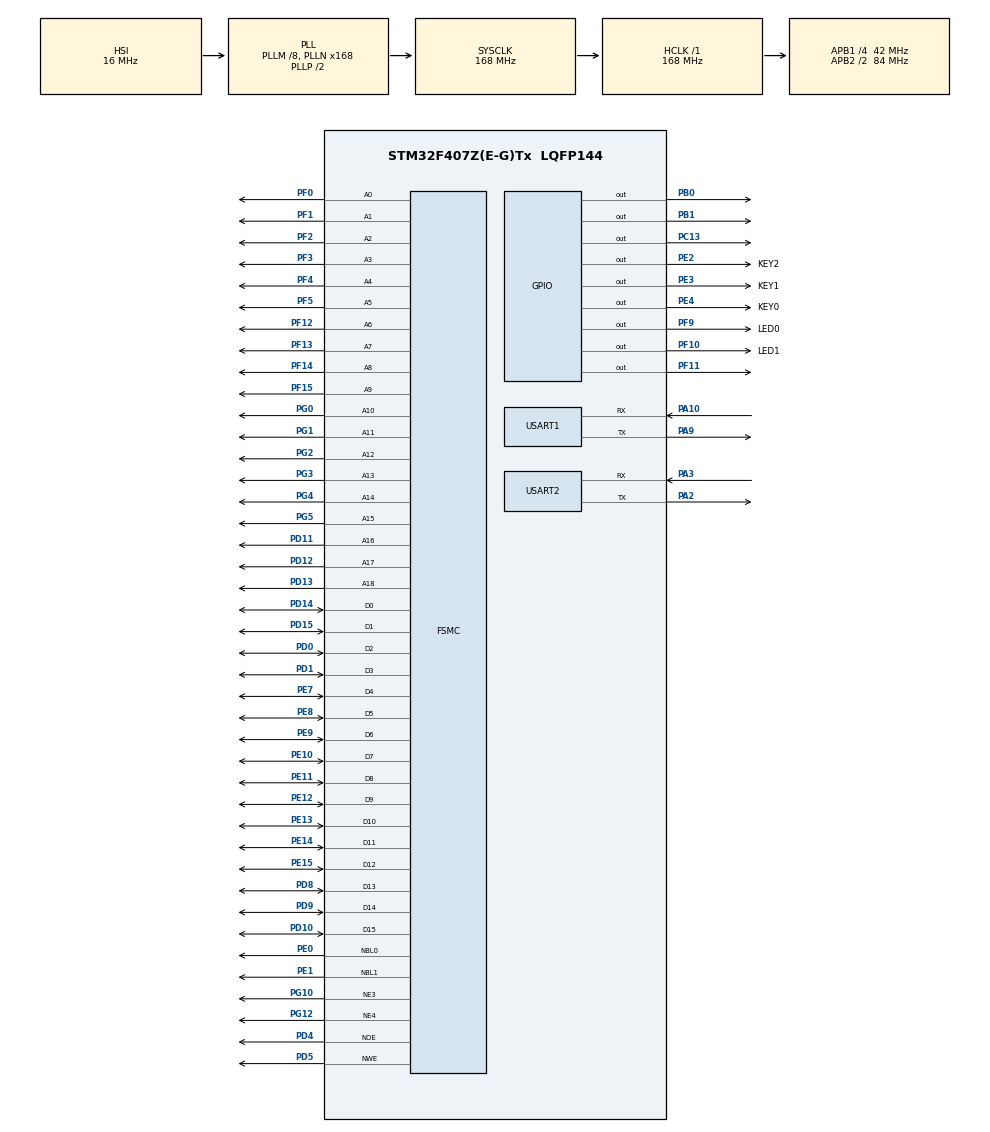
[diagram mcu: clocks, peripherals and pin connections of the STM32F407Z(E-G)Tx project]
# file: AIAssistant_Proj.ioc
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FREERTOS.Tasks01=defaultTask,24,128,StartDefaultTask,Default,NULL,Dynamic,NULL,NULL;guiTask,48,1024,guiTask_Func,Default,NULL,Dynamic,NULL,NULL;cloudTask,16,512,cloudTask_Func,Default,NULL,Dynamic,NULL,NULL
FREERTOS.configENABLE_FPU=1
FREERTOS.configTOTAL_HEAP_SIZE=32768
FSMC.AddressSetupTime2=1
FSMC.BusTurnAroundDuration2=0
FSMC.DataSetupTime2=5
FSMC.WriteOperation1=FSMC_WRITE_OPERATION_ENABLE
Mcu.Family=STM32F4
Mcu.Name=STM32F407Z(E-G)Tx
Mcu.Package=LQFP144
NVIC.PriorityGroup=NVIC_PRIORITYGROUP_4
NVIC.TIM6_DAC_IRQn=true\:15\:0\:false\:false\:true\:false\:false\:true\:true
NVIC.TimeBase=TIM6_DAC_IRQn
NVIC.TimeBaseIP=TIM6
PA10.Mode=Asynchronous
PA10.Signal=USART1_RX
PA13.Mode=Serial_Wire
PA13.Signal=SYS_JTMS-SWDIO
PA14.Mode=Serial_Wire
PA14.Signal=SYS_JTCK-SWCLK
PA2.Mode=Asynchronous
PA2.Signal=USART2_TX
PA3.Mode=Asynchronous
PA3.Signal=USART2_RX
PA9.Mode=Asynchronous
PA9.Signal=USART1_TX
PB0.GPIO_ModeDefaultOutputPP=GPIO_MODE_OUTPUT_PP
PB0.GPIO_PuPd=GPIO_PULLUP
PB0.PinState=GPIO_PIN_SET
PB0.Signal=GPIO_Output
PB1.GPIO_ModeDefaultOutputPP=GPIO_MODE_OUTPUT_PP
PB1.GPIO_PuPd=GPIO_PULLUP
PB1.PinState=GPIO_PIN_SET
PB1.Signal=GPIO_Output
PC13-ANTI_TAMP.GPIO_ModeDefaultOutputPP=GPIO_MODE_OUTPUT_PP
PC13-ANTI_TAMP.GPIO_PuPd=GPIO_PULLUP
PC13-ANTI_TAMP.PinState=GPIO_PIN_SET
PC13-ANTI_TAMP.Signal=GPIO_Output
PC14-OSC32_IN.Mode=LSE-External-Oscillator
PC14-OSC32_IN.Signal=RCC_OSC32_IN
PC15-OSC32_OUT.Mode=LSE-External-Oscillator
PC15-OSC32_OUT.Signal=RCC_OSC32_OUT
PD0.Signal=FSMC_D2_DA2
PD1.Signal=FSMC_D3_DA3
PD10.Signal=FSMC_D15_DA15
PD11.Signal=FSMC_A16_CLE
PD12.Signal=FSMC_A17_ALE
PD13.Signal=FSMC_A18
PD14.Signal=FSMC_D0_DA0
PD15.Signal=FSMC_D1_DA1
PD4.Signal=FSMC_NOE
PD5.Signal=FSMC_NWE
PD8.Signal=FSMC_D13_DA13
PD9.Signal=FSMC_D14_DA14
PE0.Signal=FSMC_NBL0
PE1.Signal=FSMC_NBL1
PE10.Signal=FSMC_D7_DA7
PE11.Signal=FSMC_D8_DA8
PE12.Signal=FSMC_D9_DA9
PE13.Signal=FSMC_D10_DA10
PE14.Signal=FSMC_D11_DA11
PE15.Signal=FSMC_D12_DA12
PE2.GPIO_Label=KEY2
PE2.GPIO_ModeDefaultOutputPP=GPIO_MODE_OUTPUT_PP
PE2.GPIO_PuPd=GPIO_PULLUP
PE2.GPIO_Speed=GPIO_SPEED_FREQ_VERY_HIGH
PE2.PinState=GPIO_PIN_SET
PE2.Signal=GPIO_Output
PE3.GPIO_Label=KEY1
PE3.GPIO_ModeDefaultOutputPP=GPIO_MODE_OUTPUT_PP
PE3.GPIO_PuPd=GPIO_PULLUP
PE3.GPIO_Speed=GPIO_SPEED_FREQ_VERY_HIGH
PE3.PinState=GPIO_PIN_SET
PE3.Signal=GPIO_Output
PE4.GPIO_Label=KEY0
PE4.GPIO_ModeDefaultOutputPP=GPIO_MODE_OUTPUT_PP
PE4.GPIO_PuPd=GPIO_PULLUP
PE4.GPIO_Speed=GPIO_SPEED_FREQ_VERY_HIGH
PE4.PinState=GPIO_PIN_SET
PE4.Signal=GPIO_Output
PE7.Signal=FSMC_D4_DA4
PE8.Signal=FSMC_D5_DA5
PE9.Signal=FSMC_D6_DA6
PF0.Signal=FSMC_A0
PF1.Signal=FSMC_A1
PF10.GPIO_Label=LED1
PF10.GPIO_ModeDefaultOutputPP=GPIO_MODE_OUTPUT_PP
PF10.GPIO_PuPd=GPIO_PULLUP
PF10.GPIO_Speed=GPIO_SPEED_FREQ_VERY_HIGH
PF10.PinState=GPIO_PIN_SET
PF10.Signal=GPIO_Output
PF11.GPIO_ModeDefaultOutputPP=GPIO_MODE_OUTPUT_PP
PF11.GPIO_PuPd=GPIO_PULLUP
PF11.PinState=GPIO_PIN_SET
PF11.Signal=GPIO_Output
PF12.Signal=FSMC_A6
PF13.Signal=FSMC_A7
PF14.Signal=FSMC_A8
PF15.Signal=FSMC_A9
PF2.Signal=FSMC_A2
PF3.Signal=FSMC_A3
PF4.Signal=FSMC_A4
PF5.Signal=FSMC_A5
PF9.GPIO_Label=LED0
PF9.GPIO_ModeDefaultOutputPP=GPIO_MODE_OUTPUT_PP
PF9.GPIO_PuPd=GPIO_PULLUP
PF9.GPIO_Speed=GPIO_SPEED_FREQ_VERY_HIGH
PF9.PinState=GPIO_PIN_SET
PF9.Signal=GPIO_Output
PG0.Signal=FSMC_A10
PG1.Signal=FSMC_A11
PG10.Mode=NorPsramChipSelect3_1
PG10.Signal=FSMC_NE3
PG12.Mode=NorPsramChipSelect4_2
PG12.Signal=FSMC_NE4
PG2.Signal=FSMC_A12
PG3.Signal=FSMC_A13
PG4.Signal=FSMC_A14
PG5.Signal=FSMC_A15
PH0-OSC_IN.Mode=HSE-External-Oscillator
PH0-OSC_IN.Signal=RCC_OSC_IN
PH1-OSC_OUT.Mode=HSE-External-Oscillator
PH1-OSC_OUT.Signal=RCC_OSC_OUT
ProjectManager.HeapSize=0x200
ProjectManager.StackSize=0x400
ProjectManager.TargetToolchain=CMake
RCC.48MHZClocksFreq_Value=84000000
RCC.AHBFreq_Value=168000000
RCC.APB1CLKDivider=RCC_HCLK_DIV4
RCC.APB1Freq_Value=42000000
RCC.APB1TimFreq_Value=84000000
RCC.APB2CLKDivider=RCC_HCLK_DIV2
RCC.APB2Freq_Value=84000000
RCC.APB2TimFreq_Value=168000000
RCC.CortexFreq_Value=168000000
RCC.HCLKFreq_Value=168000000
RCC.HSE_VALUE=8000000
RCC.HSI_VALUE=16000000
RCC.PLLM=8
RCC.PLLN=168
RCC.SYSCLKFreq_VALUE=168000000
RCC.SYSCLKSource=RCC_SYSCLKSOURCE_PLLCLK
RCC.VCOOutputFreq_Value=336000000
SH.FSMC_A0.0=FSMC_A0,19b-a1
SH.FSMC_A1.0=FSMC_A1,19b-a1
SH.FSMC_A10.0=FSMC_A10,19b-a1
SH.FSMC_A11.0=FSMC_A11,19b-a1
SH.FSMC_A12.0=FSMC_A12,19b-a1
SH.FSMC_A13.0=FSMC_A13,19b-a1
SH.FSMC_A14.0=FSMC_A14,19b-a1
SH.FSMC_A15.0=FSMC_A15,19b-a1
SH.FSMC_A16_CLE.0=FSMC_A16,19b-a1
SH.FSMC_A17_ALE.0=FSMC_A17,19b-a1
SH.FSMC_A18.0=FSMC_A18,19b-a1
SH.FSMC_A2.0=FSMC_A2,19b-a1
SH.FSMC_A3.0=FSMC_A3,19b-a1
SH.FSMC_A4.0=FSMC_A4,19b-a1
SH.FSMC_A5.0=FSMC_A5,19b-a1
SH.FSMC_A6.0=FSMC_A6,19b-a1
SH.FSMC_A6.1=FSMC_A6,A6_2
SH.FSMC_A7.0=FSMC_A7,19b-a1
SH.FSMC_A8.0=FSMC_A8,19b-a1
SH.FSMC_A9.0=FSMC_A9,19b-a1
SH.FSMC_D0_DA0.0=FSMC_D0,16b-d1
SH.FSMC_D0_DA0.1=FSMC_D0,16b-d2
SH.FSMC_D10_DA10.0=FSMC_D10,16b-d1
SH.FSMC_D10_DA10.1=FSMC_D10,16b-d2
SH.FSMC_D11_DA11.0=FSMC_D11,16b-d1
SH.FSMC_D11_DA11.1=FSMC_D11,16b-d2
SH.FSMC_D12_DA12.0=FSMC_D12,16b-d1
SH.FSMC_D12_DA12.1=FSMC_D12,16b-d2
SH.FSMC_D13_DA13.0=FSMC_D13,16b-d1
SH.FSMC_D13_DA13.1=FSMC_D13,16b-d2
SH.FSMC_D14_DA14.0=FSMC_D14,16b-d1
SH.FSMC_D14_DA14.1=FSMC_D14,16b-d2
SH.FSMC_D15_DA15.0=FSMC_D15,16b-d1
SH.FSMC_D15_DA15.1=FSMC_D15,16b-d2
SH.FSMC_D1_DA1.0=FSMC_D1,16b-d1
SH.FSMC_D1_DA1.1=FSMC_D1,16b-d2
SH.FSMC_D2_DA2.0=FSMC_D2,16b-d1
SH.FSMC_D2_DA2.1=FSMC_D2,16b-d2
SH.FSMC_D3_DA3.0=FSMC_D3,16b-d1
SH.FSMC_D3_DA3.1=FSMC_D3,16b-d2
SH.FSMC_D4_DA4.0=FSMC_D4,16b-d1
SH.FSMC_D4_DA4.1=FSMC_D4,16b-d2
SH.FSMC_D5_DA5.0=FSMC_D5,16b-d1
SH.FSMC_D5_DA5.1=FSMC_D5,16b-d2
SH.FSMC_D6_DA6.0=FSMC_D6,16b-d1
SH.FSMC_D6_DA6.1=FSMC_D6,16b-d2
SH.FSMC_D7_DA7.0=FSMC_D7,16b-d1
SH.FSMC_D7_DA7.1=FSMC_D7,16b-d2
SH.FSMC_D8_DA8.0=FSMC_D8,16b-d1
SH.FSMC_D8_DA8.1=FSMC_D8,16b-d2
SH.FSMC_D9_DA9.0=FSMC_D9,16b-d1
SH.FSMC_D9_DA9.1=FSMC_D9,16b-d2
SH.FSMC_NBL0.0=FSMC_NBL0,2ByteEnable1
SH.FSMC_NBL1.0=FSMC_NBL1,2ByteEnable1
SH.FSMC_NOE.0=FSMC_NOE,Sram1
SH.FSMC_NOE.1=FSMC_NOE,Lcd2
SH.FSMC_NWE.0=FSMC_NWE,Sram1
SH.FSMC_NWE.1=FSMC_NWE,Lcd2
USART1.VirtualMode=VM_ASYNC
USART2.VirtualMode=VM_ASYNC
VP_FREERTOS_VS_CMSIS_V2.Mode=CMSIS_V2
VP_SYS_VS_tim6.Mode=TIM6
board=custom

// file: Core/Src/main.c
/* USER CODE BEGIN Header */
/**
  ******************************************************************************
  * @file           : main.c
  * @brief          : Main program body
  ******************************************************************************
  * @attention
  *
  * Copyright (c) 2026 STMicroelectronics.
  * All rights reserved.
  *
  * This software is licensed under terms that can be found in the LICENSE file
  * in the root directory of this software component.
  * If no LICENSE file comes with this software, it is provided AS-IS.
  *
  ******************************************************************************
  */
/* USER CODE END Header */
#include "main.h"
#include "cmsis_os.h"
#include "usart.h"
#include "gpio.h"
#include "fsmc.h"

/* USER CODE BEGIN Includes */
#include "bsp_gt1151.h"
#include "bsp_nt35510.h"
/* USER CODE END Includes */

/* USER CODE BEGIN PD */

#define GT1151_LCD_BG_COLOR  BSP_NT35510_COLOR_BLACK

/* USER CODE END PD */

/* USER CODE BEGIN PV */
volatile BSP_NT35510_Status lcd_init_status;
volatile bool lcd_test_ready;
volatile uint16_t lcd_test_id;
// volatile GT1151_Status gt1151_init_status;
// volatile GT1151_TouchData gt1151_touch;
// volatile uint32_t gt1151_frame_count;
/* USER CODE END PV */

void SystemClock_Config(void);
void MX_FREERTOS_Init(void);

int main(void)
{

  /* MCU Configuration--------------------------------------------------------*/

  /* Reset of all peripherals, Initializes the Flash interface and the Systick. */
  HAL_Init();

  /* Configure the system clock */
  SystemClock_Config();

  /* USER CODE BEGIN SysInit */
  // HAL_DMA_Start(&hdma_memtomem_dma2_stream0, )

  /* USER CODE END SysInit */

  /* Initialize all configured peripherals */
  MX_GPIO_Init();
  MX_FSMC_Init();
  MX_USART2_UART_Init();
  MX_USART1_UART_Init();
  /* USER CODE BEGIN 2 */
  lcd_init_status = BSP_NT35510_Init();
  lcd_test_id = BSP_NT35510_GetDeviceId();
  lcd_test_ready = BSP_NT35510_IsReady();
  // (void)BSP_NT35510_SetOrientation(BSP_NT35510_ORIENTATION_PORTRAIT);
  // BSP_NT35510_Clear(GT1151_LCD_BG_COLOR);
  //
  // /* GT1151 bare-metal demo: initialize once, then poll it in while(1). */
  // // gt1151_init_status = BSP_GT1151_Init();
  // if (1)
  // {
  //   char id[5] = "----";
  //
  //   (void)BSP_GT1151_ReadID(id);
  //   BSP_NT35510_DrawString(8, 8, 280, 24, "GT1151 OK  ID:",
  //                         BSP_NT35510_FONT_24, BSP_NT35510_COLOR_GREEN,
  //                         GT1151_LCD_BG_COLOR, false);
  //   BSP_NT35510_DrawString(300, 8, 100, 24, id,
  //                         BSP_NT35510_FONT_24, BSP_NT35510_COLOR_GREEN,
  //                         GT1151_LCD_BG_COLOR, false);
  // }
  // else
  // {
  //   BSP_NT35510_DrawString(8, 8, 460, 24, "GT1151 INIT ERROR",
  //                         BSP_NT35510_FONT_24, BSP_NT35510_COLOR_RED,
  //                         GT1151_LCD_BG_COLOR, false);
  // }
  /* USER CODE END 2 */

  /* Init scheduler */
  osKernelInitialize();  /* Call init function for freertos objects (in cmsis_os2.c) */
  MX_FREERTOS_Init();

  /* Start scheduler */
  osKernelStart();

  /* We should never get here as control is now taken by the scheduler */

  /* Infinite loop */
  while (1)
  {

    /* USER CODE BEGIN 3 */
    // GT1151_TouchData touch;
    //
    // if ((gt1151_init_status != GT1151_ERROR) &&
    //     (BSP_GT1151_Scan(&touch) > 0U))
    // {
    //   const GT1151_Point *point = &touch.points[0];
    //
    //   gt1151_touch = touch;       /* These globals are convenient to watch. */
    //   gt1151_frame_count++;
    //
    //   BSP_NT35510_FillRect(0, 40, 480, 24, GT1151_LCD_BG_COLOR);
    //   BSP_NT35510_DrawString(8, 40, 24, 24, "X:",
    //                         BSP_NT35510_FONT_24, BSP_NT35510_COLOR_WHITE,
    //                         GT1151_LCD_BG_COLOR, false);
    //   BSP_NT35510_DrawUInt(40, 40, point->x, 3, BSP_NT35510_FONT_24,
    //                       BSP_NT35510_COLOR_YELLOW, GT1151_LCD_BG_COLOR, false);
    //   BSP_NT35510_DrawString(130, 40, 24, 24, "Y:",
    //                         BSP_NT35510_FONT_24, BSP_NT35510_COLOR_WHITE,
    //                         GT1151_LCD_BG_COLOR, false);
    //   BSP_NT35510_DrawUInt(162, 40, point->y, 3, BSP_NT35510_FONT_24,
    //                       BSP_NT35510_COLOR_YELLOW, GT1151_LCD_BG_COLOR, false);
    //
    //   /* Portrait LCD and touch coordinates are both 480 x 800. */
    //   if ((point->x < BSP_NT35510_PORTRAIT_WIDTH) &&
    //       (point->y < BSP_NT35510_PORTRAIT_HEIGHT))
    //   {
    //     BSP_NT35510_DrawCircle(point->x, point->y, 5,
    //                           BSP_NT35510_COLOR_RED);
    //   }
    // }
    //
    // // HAL_Delay(1);
  }
  /* USER CODE END 3 */
}

void SystemClock_Config(void)
{
  RCC_OscInitTypeDef RCC_OscInitStruct = {0};
  RCC_ClkInitTypeDef RCC_ClkInitStruct = {0};

  /** Configure the main internal regulator output voltage
  */
  __HAL_RCC_PWR_CLK_ENABLE();
  __HAL_PWR_VOLTAGESCALING_CONFIG(PWR_REGULATOR_VOLTAGE_SCALE1);

  /** Initializes the RCC Oscillators according to the specified parameters
  * in the RCC_OscInitTypeDef structure.
  */
  RCC_OscInitStruct.OscillatorType = RCC_OSCILLATORTYPE_HSI;
  RCC_OscInitStruct.HSIState = RCC_HSI_ON;
  RCC_OscInitStruct.HSICalibrationValue = RCC_HSICALIBRATION_DEFAULT;
  RCC_OscInitStruct.PLL.PLLState = RCC_PLL_ON;
  RCC_OscInitStruct.PLL.PLLSource = RCC_PLLSOURCE_HSI;
  RCC_OscInitStruct.PLL.PLLM = 8;
  RCC_OscInitStruct.PLL.PLLN = 168;
  RCC_OscInitStruct.PLL.PLLP = RCC_PLLP_DIV2;
  RCC_OscInitStruct.PLL.PLLQ = 4;
  if (HAL_RCC_OscConfig(&RCC_OscInitStruct) != HAL_OK)
  {
    Error_Handler();
  }

  /** Initializes the CPU, AHB and APB buses clocks
  */
  RCC_ClkInitStruct.ClockType = RCC_CLOCKTYPE_HCLK|RCC_CLOCKTYPE_SYSCLK
                              |RCC_CLOCKTYPE_PCLK1|RCC_CLOCKTYPE_PCLK2;
  RCC_ClkInitStruct.SYSCLKSource = RCC_SYSCLKSOURCE_PLLCLK;
  RCC_ClkInitStruct.AHBCLKDivider = RCC_SYSCLK_DIV1;
  RCC_ClkInitStruct.APB1CLKDivider = RCC_HCLK_DIV4;
  RCC_ClkInitStruct.APB2CLKDivider = RCC_HCLK_DIV2;

  if (HAL_RCC_ClockConfig(&RCC_ClkInitStruct, FLASH_LATENCY_5) != HAL_OK)
  {
    Error_Handler();
  }
}

void HAL_TIM_PeriodElapsedCallback(TIM_HandleTypeDef *htim)
{
  if (htim->Instance == TIM6)
  {
    HAL_IncTick();
  }
}

void Error_Handler(void)
{
  __disable_irq();
  while (1)
  {
  }
}

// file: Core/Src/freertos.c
/* USER CODE BEGIN Header */
/**
  ******************************************************************************
  * File Name          : freertos.c
  * Description        : Code for freertos applications
  ******************************************************************************
  * @attention
  *
  * Copyright (c) 2026 STMicroelectronics.
  * All rights reserved.
  *
  * This software is licensed under terms that can be found in the LICENSE file
  * in the root directory of this software component.
  * If no LICENSE file comes with this software, it is provided AS-IS.
  *
  ******************************************************************************
  */
/* USER CODE END Header */

#include "FreeRTOS.h"
#include "task.h"
#include "main.h"
#include "cmsis_os.h"

/* USER CODE BEGIN Includes */
#include "bsp_gt1151.h"
#include "bsp_nt35510.h"
#include "device_cloud.h"
#include "gui_app.h"
/* USER CODE END Includes */

/* USER CODE BEGIN Variables */
// __attribute__((section(".ccmram"))) static uint8_t my_buf[4096];
/* USER CODE END Variables */
/* Definitions for defaultTask */
osThreadId_t defaultTaskHandle;
const osThreadAttr_t defaultTask_attributes = {
  .name = "defaultTask",
  .stack_size = 128 * 4,
  .priority = (osPriority_t) osPriorityNormal,
};
/* Definitions for guiTask */
osThreadId_t guiTaskHandle;
const osThreadAttr_t guiTask_attributes = {
  .name = "guiTask",
  .stack_size = 1024 * 4,
  .priority = (osPriority_t) osPriorityRealtime,
};
/* Definitions for cloudTask */
osThreadId_t cloudTaskHandle;
const osThreadAttr_t cloudTask_attributes = {
  .name = "cloudTask",
  .stack_size = 512 * 4,
  .priority = (osPriority_t) osPriorityBelowNormal,
};

void StartDefaultTask(void *argument);
void guiTask_Func(void *argument);
void cloudTask_Func(void *argument);

void MX_FREERTOS_Init(void); /* (MISRA C 2004 rule 8.1) */

void MX_FREERTOS_Init(void) {
  /* USER CODE BEGIN Init */
  DeviceCloud_Init();
  /* USER CODE END Init */

  /* Create the thread(s) */
  /* creation of defaultTask */
  defaultTaskHandle = osThreadNew(StartDefaultTask, NULL, &defaultTask_attributes);

  /* creation of guiTask */
  guiTaskHandle = osThreadNew(guiTask_Func, NULL, &guiTask_attributes);

  /* creation of cloudTask */
  cloudTaskHandle = osThreadNew(cloudTask_Func, NULL, &cloudTask_attributes);

}

void StartDefaultTask(void *argument)
{
  /* USER CODE BEGIN StartDefaultTask */
  (void)argument;
  /* Infinite loop */
  for(;;)
  {
    HAL_GPIO_WritePin(LED0_GPIO_Port, LED0_Pin, GPIO_PIN_RESET);
    HAL_GPIO_WritePin(LED1_GPIO_Port, LED1_Pin, GPIO_PIN_RESET);
    vTaskDelay(100);
    HAL_GPIO_WritePin(LED0_GPIO_Port, LED0_Pin, GPIO_PIN_SET);
    HAL_GPIO_WritePin(LED1_GPIO_Port, LED1_Pin, GPIO_PIN_SET);
    vTaskDelay(100);
    HAL_GPIO_WritePin(LED0_GPIO_Port, LED0_Pin, GPIO_PIN_RESET);
    HAL_GPIO_WritePin(LED1_GPIO_Port, LED1_Pin, GPIO_PIN_RESET);
    vTaskDelay(100);
    HAL_GPIO_WritePin(LED0_GPIO_Port, LED0_Pin, GPIO_PIN_SET);
    HAL_GPIO_WritePin(LED1_GPIO_Port, LED1_Pin, GPIO_PIN_SET);
    vTaskDelay(750);
  //   BSP_GT1151_Scan(&torch);
  //   BSP_NT35510_DrawUInt(0, 0, torch.points[0].x, 4, 24,
  //     BSP_NT35510_COLOR_RED, BSP_NT35510_COLOR_WHITE, 1);
  //   BSP_NT35510_DrawUInt(40, 40, torch.points[0].y, 4, 24,
  // BSP_NT35510_COLOR_RED, BSP_NT35510_COLOR_WHITE, 1);
  //   vTaskDelay(50);
  }
  /* USER CODE END StartDefaultTask */
}

void guiTask_Func(void *argument)
{
  /* USER CODE BEGIN guiTask_Func */
  (void)argument;
  gui_app_init();
  /* Infinite loop */
  for(;;)
  {
    osDelay(gui_app_process());
  }
  /* USER CODE END guiTask_Func */
}

void cloudTask_Func(void *argument)
{
  /* USER CODE BEGIN cloudTask_Func */
  DeviceCloud_Task(argument);
  /* USER CODE END cloudTask_Func */
}
